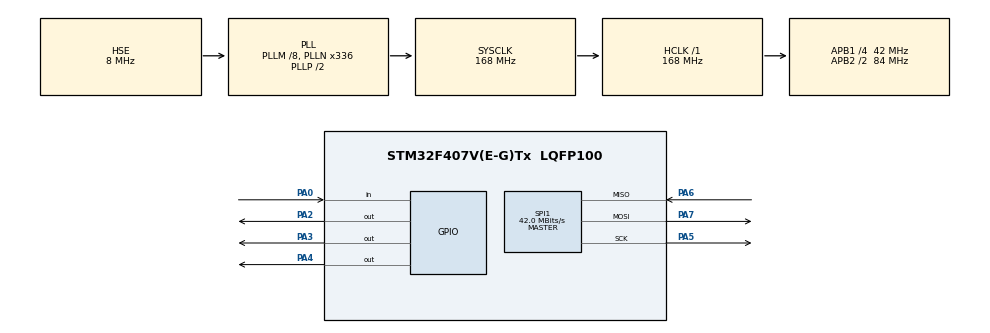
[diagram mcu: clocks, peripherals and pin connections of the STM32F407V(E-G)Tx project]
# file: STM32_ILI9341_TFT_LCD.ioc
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Mcu.Family=STM32F4
Mcu.Name=STM32F407V(E-G)Tx
Mcu.Package=LQFP100
NVIC.PriorityGroup=NVIC_PRIORITYGROUP_0
PA0-WKUP.Signal=GPIO_Input
PA13.Mode=Serial_Wire
PA13.Signal=SYS_JTMS-SWDIO
PA14.Mode=Serial_Wire
PA14.Signal=SYS_JTCK-SWCLK
PA2.GPIO_Speed=GPIO_SPEED_FREQ_HIGH
PA2.Signal=GPIO_Output
PA3.GPIO_Speed=GPIO_SPEED_FREQ_HIGH
PA3.Signal=GPIO_Output
PA4.GPIO_Speed=GPIO_SPEED_FREQ_HIGH
PA4.Signal=GPIO_Output
PA5.Mode=Full_Duplex_Master
PA5.Signal=SPI1_SCK
PA6.Mode=Full_Duplex_Master
PA6.Signal=SPI1_MISO
PA7.Mode=Full_Duplex_Master
PA7.Signal=SPI1_MOSI
PH0-OSC_IN.Mode=HSE-External-Oscillator
PH0-OSC_IN.Signal=RCC_OSC_IN
PH1-OSC_OUT.Mode=HSE-External-Oscillator
PH1-OSC_OUT.Signal=RCC_OSC_OUT
ProjectManager.HeapSize=0x200
ProjectManager.StackSize=0x400
ProjectManager.TargetToolchain=STM32CubeIDE
RCC.48MHZClocksFreq_Value=48000000
RCC.AHBFreq_Value=168000000
RCC.APB1CLKDivider=RCC_HCLK_DIV4
RCC.APB1Freq_Value=42000000
RCC.APB1TimFreq_Value=84000000
RCC.APB2CLKDivider=RCC_HCLK_DIV2
RCC.APB2Freq_Value=84000000
RCC.APB2TimFreq_Value=168000000
RCC.CortexFreq_Value=168000000
RCC.HCLKFreq_Value=168000000
RCC.HSE_VALUE=8000000
RCC.HSI_VALUE=16000000
RCC.LSE_VALUE=32768
RCC.PLLM=8
RCC.PLLN=336
RCC.PLLQ=7
RCC.PLLSourceVirtual=RCC_PLLSOURCE_HSE
RCC.SYSCLKFreq_VALUE=168000000
RCC.SYSCLKSource=RCC_SYSCLKSOURCE_PLLCLK
RCC.VCOOutputFreq_Value=336000000
SPI1.CalculateBaudRate=42.0 MBits/s
SPI1.Direction=SPI_DIRECTION_2LINES
SPI1.Mode=SPI_MODE_MASTER
SPI1.VirtualType=VM_MASTER
board=STM32F407G-DISC1

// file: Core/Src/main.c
/* USER CODE BEGIN Header */
/**
  ******************************************************************************
  * @file           : main.c
  * @brief          : Main program body
  ******************************************************************************
  * @attention
  *
  * Copyright (c) 2025 STMicroelectronics.
  * All rights reserved.
  *
  * This software is licensed under terms that can be found in the LICENSE file
  * in the root directory of this software component.
  * If no LICENSE file comes with this software, it is provided AS-IS.
  *
  ******************************************************************************
  */
/* USER CODE END Header */
#include "main.h"

SPI_HandleTypeDef hspi1;

void SystemClock_Config(void);
static void MX_GPIO_Init(void);
static void MX_SPI1_Init(void);

/* USER CODE BEGIN 0 */

/*
#include "spi_ili9341.h"
#include "stdio.h"
#include "string.h"

extern uint16_t TFT9341_WIDTH;
extern uint16_t TFT9341_HEIGHT;

uint16_t i,j;
uint32_t sayi=0;
char data[20];
*/

#include "ILI9341.h"

uint32_t num=0;

/* USER CODE END 0 */

int main(void)
{

  /* MCU Configuration--------------------------------------------------------*/

  /* Reset of all peripherals, Initializes the Flash interface and the Systick. */
  HAL_Init();

  /* Configure the system clock */
  SystemClock_Config();

  /* Initialize all configured peripherals */
  MX_GPIO_Init();
  MX_SPI1_Init();
  /* USER CODE BEGIN 2 */

	ILI9341_HandleTypeDef tft_lcd={
		  .hspi =&hspi1,
		  .CS   ={GPIOA, GPIO_PIN_4},
		  .RST  ={GPIOA, GPIO_PIN_2},
		  .DC   ={GPIOA, GPIO_PIN_3},
	};

	ILI9341_init(&tft_lcd);
	ILI9341_FillScreen(&tft_lcd, ILI9341_BLUE);
	ILI9341_SetRotation(&tft_lcd, 1);
	ILI9341_SetTextColor(&tft_lcd, ILI9341_BLACK);
	ILI9341_SetBackColor(&tft_lcd, ILI9341_YELLOW);

	ILI9341_SetFont(&tft_lcd, &Font24);
	ILI9341_DrawChar(&tft_lcd, 10,10,'E');
	ILI9341_DrawChar(&tft_lcd, 27,10,('r'));
	ILI9341_DrawChar(&tft_lcd, 44,10,('e'));
	ILI9341_DrawChar(&tft_lcd, 61,10,('n'));
	ILI9341_String(&tft_lcd, 10,40,"Gokyildiz");
	HAL_Delay(2000);

	ILI9341_DrawCircle(&tft_lcd, 250, 100, 50, ILI9341_BLACK);
	ILI9341_DrawCircle(&tft_lcd, 250, 100, 40, ILI9341_BLACK);
	ILI9341_DrawCircle(&tft_lcd, 250, 100, 30, ILI9341_BLACK);
	ILI9341_DrawCircle(&tft_lcd, 250, 100, 20, ILI9341_BLACK);
	ILI9341_DrawCircle(&tft_lcd, 250, 100, 10, ILI9341_BLACK);

	ILI9341_FillRect(&tft_lcd, 250, 200, 300, 230, ILI9341_BLACK);
  /* USER CODE END 2 */

  /* Infinite loop */
  while (1)
  {

    /* USER CODE BEGIN 3 */
	num++;
	ILI9341_Printf(&tft_lcd, 10, 124, "Osman Mert");
	ILI9341_Printf(&tft_lcd, 10, 154, "Num: %04d", num);

  }
  /* USER CODE END 3 */
}

void SystemClock_Config(void)
{
  RCC_OscInitTypeDef RCC_OscInitStruct = {0};
  RCC_ClkInitTypeDef RCC_ClkInitStruct = {0};

  /** Configure the main internal regulator output voltage
  */
  __HAL_RCC_PWR_CLK_ENABLE();
  __HAL_PWR_VOLTAGESCALING_CONFIG(PWR_REGULATOR_VOLTAGE_SCALE1);

  /** Initializes the RCC Oscillators according to the specified parameters
  * in the RCC_OscInitTypeDef structure.
  */
  RCC_OscInitStruct.OscillatorType = RCC_OSCILLATORTYPE_HSE;
  RCC_OscInitStruct.HSEState = RCC_HSE_ON;
  RCC_OscInitStruct.PLL.PLLState = RCC_PLL_ON;
  RCC_OscInitStruct.PLL.PLLSource = RCC_PLLSOURCE_HSE;
  RCC_OscInitStruct.PLL.PLLM = 8;
  RCC_OscInitStruct.PLL.PLLN = 336;
  RCC_OscInitStruct.PLL.PLLP = RCC_PLLP_DIV2;
  RCC_OscInitStruct.PLL.PLLQ = 7;
  if (HAL_RCC_OscConfig(&RCC_OscInitStruct) != HAL_OK)
  {
    Error_Handler();
  }

  /** Initializes the CPU, AHB and APB buses clocks
  */
  RCC_ClkInitStruct.ClockType = RCC_CLOCKTYPE_HCLK|RCC_CLOCKTYPE_SYSCLK
                              |RCC_CLOCKTYPE_PCLK1|RCC_CLOCKTYPE_PCLK2;
  RCC_ClkInitStruct.SYSCLKSource = RCC_SYSCLKSOURCE_PLLCLK;
  RCC_ClkInitStruct.AHBCLKDivider = RCC_SYSCLK_DIV1;
  RCC_ClkInitStruct.APB1CLKDivider = RCC_HCLK_DIV4;
  RCC_ClkInitStruct.APB2CLKDivider = RCC_HCLK_DIV2;

  if (HAL_RCC_ClockConfig(&RCC_ClkInitStruct, FLASH_LATENCY_5) != HAL_OK)
  {
    Error_Handler();
  }
}

static void MX_SPI1_Init(void)
{

  /* SPI1 parameter configuration*/
  hspi1.Instance = SPI1;
  hspi1.Init.Mode = SPI_MODE_MASTER;
  hspi1.Init.Direction = SPI_DIRECTION_2LINES;
  hspi1.Init.DataSize = SPI_DATASIZE_8BIT;
  hspi1.Init.CLKPolarity = SPI_POLARITY_LOW;
  hspi1.Init.CLKPhase = SPI_PHASE_1EDGE;
  hspi1.Init.NSS = SPI_NSS_SOFT;
  hspi1.Init.BaudRatePrescaler = SPI_BAUDRATEPRESCALER_2;
  hspi1.Init.FirstBit = SPI_FIRSTBIT_MSB;
  hspi1.Init.TIMode = SPI_TIMODE_DISABLE;
  hspi1.Init.CRCCalculation = SPI_CRCCALCULATION_DISABLE;
  hspi1.Init.CRCPolynomial = 10;
  if (HAL_SPI_Init(&hspi1) != HAL_OK)
  {
    Error_Handler();
  }

}

static void MX_GPIO_Init(void)
{
  GPIO_InitTypeDef GPIO_InitStruct = {0};

  /* GPIO Ports Clock Enable */
  __HAL_RCC_GPIOH_CLK_ENABLE();
  __HAL_RCC_GPIOA_CLK_ENABLE();

  /*Configure GPIO pin Output Level */
  HAL_GPIO_WritePin(GPIOA, GPIO_PIN_2|GPIO_PIN_3|GPIO_PIN_4, GPIO_PIN_RESET);

  /*Configure GPIO pin : PA0 */
  GPIO_InitStruct.Pin = GPIO_PIN_0;
  GPIO_InitStruct.Mode = GPIO_MODE_INPUT;
  GPIO_InitStruct.Pull = GPIO_NOPULL;
  HAL_GPIO_Init(GPIOA, &GPIO_InitStruct);

  /*Configure GPIO pins : PA2 PA3 PA4 */
  GPIO_InitStruct.Pin = GPIO_PIN_2|GPIO_PIN_3|GPIO_PIN_4;
  GPIO_InitStruct.Mode = GPIO_MODE_OUTPUT_PP;
  GPIO_InitStruct.Pull = GPIO_NOPULL;
  GPIO_InitStruct.Speed = GPIO_SPEED_FREQ_HIGH;
  HAL_GPIO_Init(GPIOA, &GPIO_InitStruct);

}

void Error_Handler(void)
{
  __disable_irq();
  while (1)
  {
  }
}
